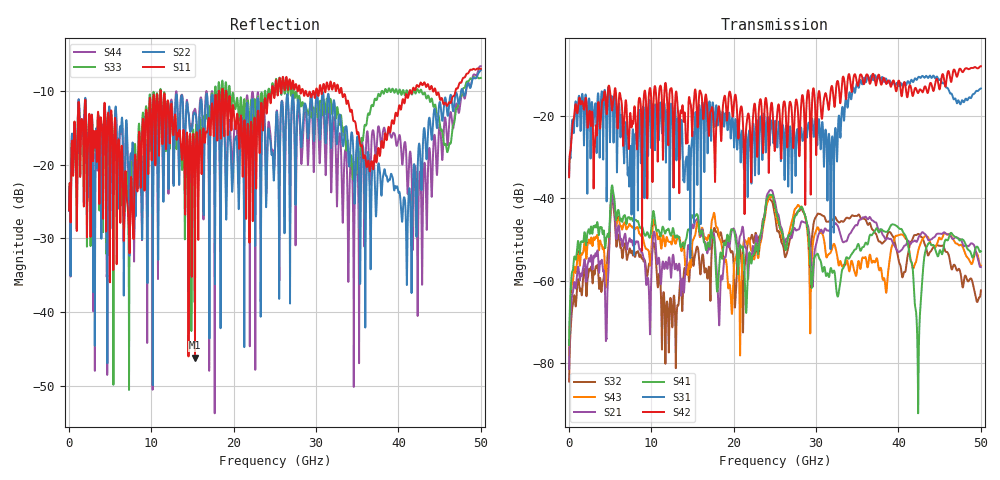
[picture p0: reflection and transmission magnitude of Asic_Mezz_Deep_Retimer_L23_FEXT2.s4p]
! Created Wed Jul  3 11:25:11 2019
# hz S ma R 50
! 4 Port Network Data from SP1.SP block
! freq  magS11  angS11  magS12  angS12  magS13  angS13  magS14  angS14
!  magS21  angS21  magS22  angS22  magS23  angS23  magS24  angS24
!  magS31  angS31  magS32  angS32  magS33  angS33  magS34  angS34
!  magS41  angS41  magS42  angS42  magS43  angS43  magS44  angS44
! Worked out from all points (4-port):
!   4996 points, 50 MHz to 50 GHz, reference 50 ohm
!   strongest paths, dB at 50 MHz, 12.54 GHz, 25.03 GHz, 37.52 GHz, 50 GHz:
!     S42: -34.9, -14.2, -28.0, -10.2, -7.9
!     S31: -34.5, -20.9, -21.2, -10.6, -13.3
!     S41: -75.6, -48.0, -41.9, -47.9, -52.8
!     S21: -81.4, -55.7, -40.7, -47.4, -56.7
!     S43: -78.2, -50.8, -42.4, -55.9, -56.3
!     S32: -84.5, -70.8, -44.2, -50.1, -62.4
!   lowest |S11| = -46.2 dB at 15.32 GHz (marker M1), VSWR 1.01, Z = 49.9 + j0.471 ohm
!   |S11| at or under -10 dB: start of sweep to 11.14 GHz; 11.18 GHz to 18.22 GHz (7.043 GHz wide, 47.9 % of centre); 33.13 GHz to 41.34 GHz (8.217 GHz wide, 22.1 % of centre)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
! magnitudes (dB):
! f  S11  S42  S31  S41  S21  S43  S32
! 50 MHz  -26.2  -34.9  -34.5  -75.6  -81.4  -78.2  -84.5
! 5.28 GHz  -16.3  -18.6  -15.7  -36.9  -39.0  -37.9  -39.3
! 9.76 GHz  -13.2  -14.1  -17.2  -49.5  -64.3  -53.5  -55.8
! 15.32 GHz  -46.2  -13.6  -20.6  -44.4  -45.6  -49.0  -53.8
! 39.64 GHz  -13.0  -13.5  -12.6  -46.6  -52.0  -49.2  -51.5
! 42.38 GHz  -9.4  -14.4  -10.6  -90.7  -49.8  -52.9  -48.6
! 50 GHz  -7.0  -7.9  -13.3  -52.8  -56.7  -56.3  -62.4
